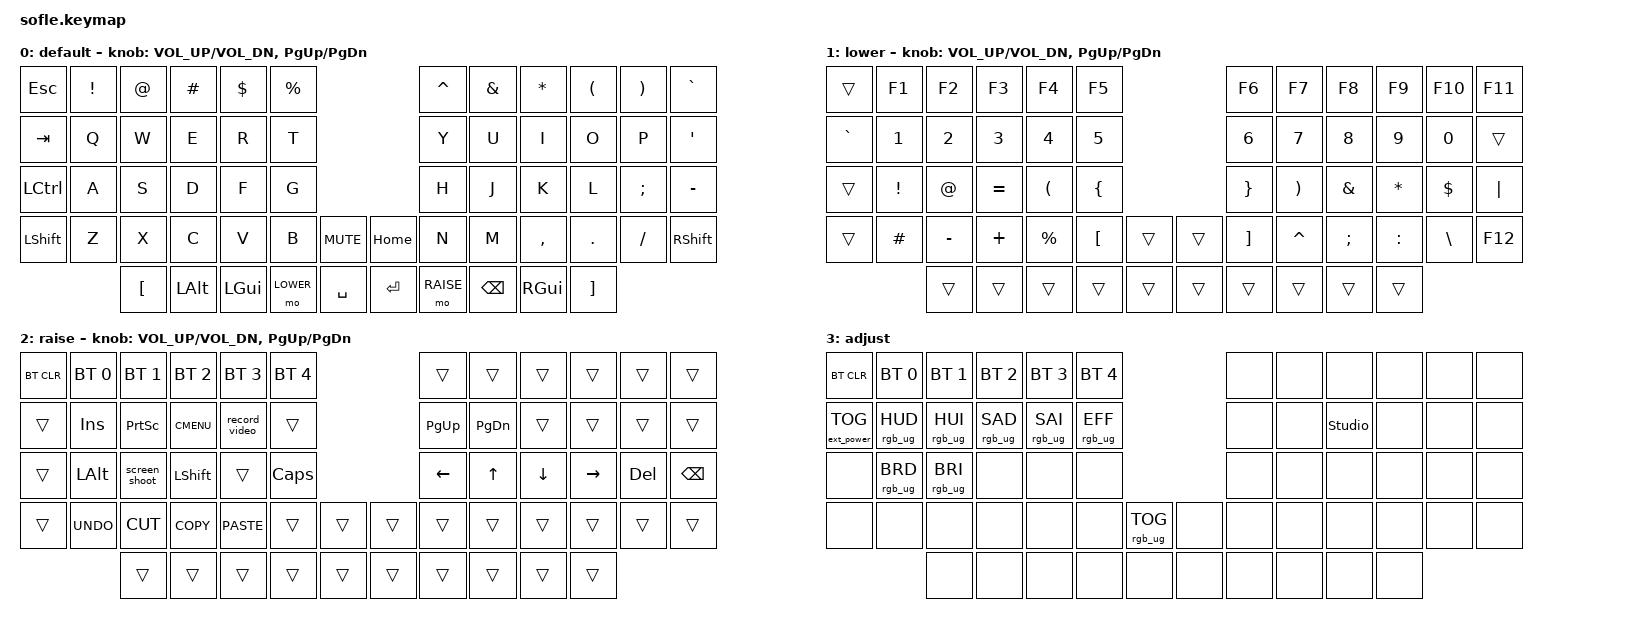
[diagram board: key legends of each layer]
/*
 * Copyright (c) 2020 The ZMK Contributors
 *
 * SPDX-License-Identifier: MIT
 */

#include <behaviors.dtsi>
#include <dt-bindings/zmk/bt.h>
#include <dt-bindings/zmk/ext_power.h>
#include <dt-bindings/zmk/keys.h>
#include <dt-bindings/zmk/rgb.h>

#define BASE 0
#define LOWER 1
#define RAISE 2
#define ADJUST 3

/ {
    // Activate ADJUST layer by pressing raise and lower

    conditional_layers {
        compatible = "zmk,conditional-layers";

        adjust_layer {
            if-layers = <LOWER RAISE>;
            then-layer = <ADJUST>;
        };
    };

    left_encoder: encoder_left { steps = <40>; };

    right_encoder: encoder_right { steps = <40>; };

    macros {
        screen_shoot: screen_shoot {
            compatible = "zmk,behavior-macro";
            #binding-cells = <0>;
            bindings = <&kp LS(LG(LC(NUMBER_4)))>;
            label = "SCREEN_SHOOT";
        };

        record_video: record_video {
            compatible = "zmk,behavior-macro";
            #binding-cells = <0>;
            bindings = <&kp LS(LG(NUMBER_5))>;
            label = "RECORD_VIDEO";
        };
    };

    keymap {
        compatible = "zmk,keymap";

        default_layer {
            display-name = "default";

            // ------------------------------------------------------------------------------------------------------------
            // |   `   |  1  |  2  |  3   |  4   |  5   |                   |  6   |  7    |  8    |  9   |   0   |       |
            // |  ESC  |  Q  |  W  |  E   |  R   |  T   |                   |  Y   |  U    |  I    |  O   |   P   | BKSPC |
            // |  TAB  |  A  |  S  |  D   |  F   |  G   |                   |  H   |  J    |  K    |  L   |   ;   |   '   |
            // | SHIFT |  Z  |  X  |  C   |  V   |  B   |  MUTE  |  |       |  N   |  M    |  ,    |  .   |   /   | SHIFT |
            //               | GUI | ALT  | CTRL | LOWER|  ENTER |  | SPACE | RAISE| CTRL  | ALT   | GUI  |

            bindings = <
&kp ESCAPE  &kp EXCLAMATION  &kp AT_SIGN       &kp HASH  &kp DOLLAR    &kp PERCENT                           &kp CARET  &kp AMPERSAND  &kp ASTERISK   &kp LEFT_PARENTHESIS  &kp RIGHT_PARENTHESIS  &kp GRAVE
&kp TAB     &kp Q            &kp W             &kp E     &kp R         &kp T                                 &kp Y      &kp U          &kp I          &kp O                 &kp P                  &kp SINGLE_QUOTE
&kp LCTRL   &kp A            &kp S             &kp D     &kp F         &kp G                                 &kp H      &kp J          &kp K          &kp L                 &kp SEMI               &kp MINUS
&kp LSHFT   &kp Z            &kp X             &kp C     &kp V         &kp B        &kp C_MUTE    &kp HOME   &kp N      &kp M          &kp COMMA      &kp DOT               &kp FSLH               &kp RSHFT
                             &kp LEFT_BRACKET  &kp LALT  &kp LEFT_GUI  &mo LOWER    &kp SPACE     &kp ENTER  &mo RAISE  &kp BACKSPACE  &kp RIGHT_GUI  &kp RIGHT_BRACKET
            >;

            sensor-bindings = <&inc_dec_kp C_VOL_UP C_VOL_DN &inc_dec_kp PG_UP PG_DN>;
        };

        lower_layer {
            display-name = "lower";

            // TODO: Some binds are waiting for shifted keycode support.
            // ------------------------------------------------------------------------------------------------------------
            // |       |  F1 |  F2 |  F3  |  F4  |  F5  |                   |  F6  |  F7   |  F8   |  F9  |  F10  |  F11  |
            // |   `   |  1  |  2  |  3   |  4   |  5   |                   |  6   |  7    |  8    |  9   |   0   |  F12  |
            // |       |  !  |  @  |  #   |  $   |  %   |                   |  ^   |  &    |  *    |  (   |   )   |   |   |
            // |       |  =  |  -  |  +   |  {   |  }   |        |  |       |  [   |  ]    |  ;    |  :   |   \   |       |
            //               |     |      |      |      |        |  |       |      |       |       |      |

            bindings = <
&trans     &kp F1    &kp F2     &kp F3     &kp F4                &kp F5                              &kp F6             &kp F7                 &kp F8         &kp F9        &kp F10     &kp F11
&kp GRAVE  &kp N1    &kp N2     &kp N3     &kp N4                &kp N5                              &kp N6             &kp N7                 &kp N8         &kp N9        &kp N0      &trans
&trans     &kp EXCL  &kp AT     &kp EQUAL  &kp LEFT_PARENTHESIS  &kp LEFT_BRACE                      &kp RIGHT_BRACE    &kp RIGHT_PARENTHESIS  &kp AMPERSAND  &kp ASTERISK  &kp DOLLAR  &kp PIPE
&trans     &kp HASH  &kp MINUS  &kp PLUS   &kp PERCENT           &kp LEFT_BRACKET  &trans    &trans  &kp RIGHT_BRACKET  &kp CARET              &kp SEMI       &kp COLON     &kp BSLH    &kp F12
                     &trans     &trans     &trans                &trans            &trans    &trans  &trans             &trans                 &trans         &trans
            >;

            sensor-bindings = <&inc_dec_kp C_VOL_UP C_VOL_DN &inc_dec_kp PG_UP PG_DN>;
        };

        raise_layer {
            display-name = "raise";

            // ------------------------------------------------------------------------------------------------------------
            // | BTCLR | BT1  | BT2  |  BT3  |  BT4  |  BT5 |                |      |      |       |      |       |       |
            // |       | INS  | PSCR | GUI   |       |      |                | PGUP |      |   ^   |      |       |       |
            // |       | ALT  | CTRL | SHIFT |       | CAPS |                | PGDN |   <- |   v   |  ->  |  DEL  | BKSPC |
            // |       | UNDO | CUT  | COPY  | PASTE |      |      |  |      |      |      |       |      |       |       |
            //                |      |       |       |      |      |  |      |      |      |       |      |

            bindings = <
&bt BT_CLR  &bt BT_SEL 0  &bt BT_SEL 1   &bt BT_SEL 2  &bt BT_SEL 3   &bt BT_SEL 4                    &trans          &trans         &trans    &trans     &trans   &trans
&trans      &kp INS       &kp PSCRN      &kp K_CMENU   &record_video  &trans                          &kp PG_UP       &kp PAGE_DOWN  &trans    &trans     &trans   &trans
&trans      &kp LALT      &screen_shoot  &kp LSHFT     &trans         &kp CLCK                        &kp LEFT_ARROW  &kp UP_ARROW   &kp DOWN  &kp RIGHT  &kp DEL  &kp BSPC
&trans      &kp K_UNDO    &kp K_CUT      &kp K_COPY    &kp K_PASTE    &trans        &trans    &trans  &trans          &trans         &trans    &trans     &trans   &trans
                          &trans         &trans        &trans         &trans        &trans    &trans  &trans          &trans         &trans    &trans
            >;

            sensor-bindings = <&inc_dec_kp C_VOL_UP C_VOL_DN &inc_dec_kp PG_UP PG_DN>;
        };

        adjust_layer {
            // ----------------------------------------------------------------------------------------------------------------------------
            // | BTCLR  |  BT1    |  BT2    |   BT3   |   BT4   |   BT5   |                  |      |      |       |      |       |       |
            // | EXTPWR | RGB_HUD | RGB_HUI | RGB_SAD | RGB_SAI | RGB_EFF |                  |      |      |       |      |       |       |
            // |        | RGB_BRD | RGB_BRI |         |         |         |                  |      |      |       |      |       |       |
            // |        |         |         |         |         |         | RGB_TOG | |      |      |      |       |      |       |       |
            //                    |         |         |         |         |         | |      |      |      |       |      |

            display-name = "adjust";
            bindings = <
&bt BT_CLR         &bt BT_SEL 0     &bt BT_SEL 1     &bt BT_SEL 2     &bt BT_SEL 3     &bt BT_SEL 4                               &none  &none  &none           &none  &none  &none
&ext_power EP_TOG  &rgb_ug RGB_HUD  &rgb_ug RGB_HUI  &rgb_ug RGB_SAD  &rgb_ug RGB_SAI  &rgb_ug RGB_EFF                            &none  &none  &studio_unlock  &none  &none  &none
&none              &rgb_ug RGB_BRD  &rgb_ug RGB_BRI  &none            &none            &none                                      &none  &none  &none           &none  &none  &none
&none              &none            &none            &none            &none            &none            &rgb_ug RGB_TOG    &none  &none  &none  &none           &none  &none  &none
                                    &none            &none            &none            &none            &none              &none  &none  &none  &none           &none
            >;
        };
    };
};
